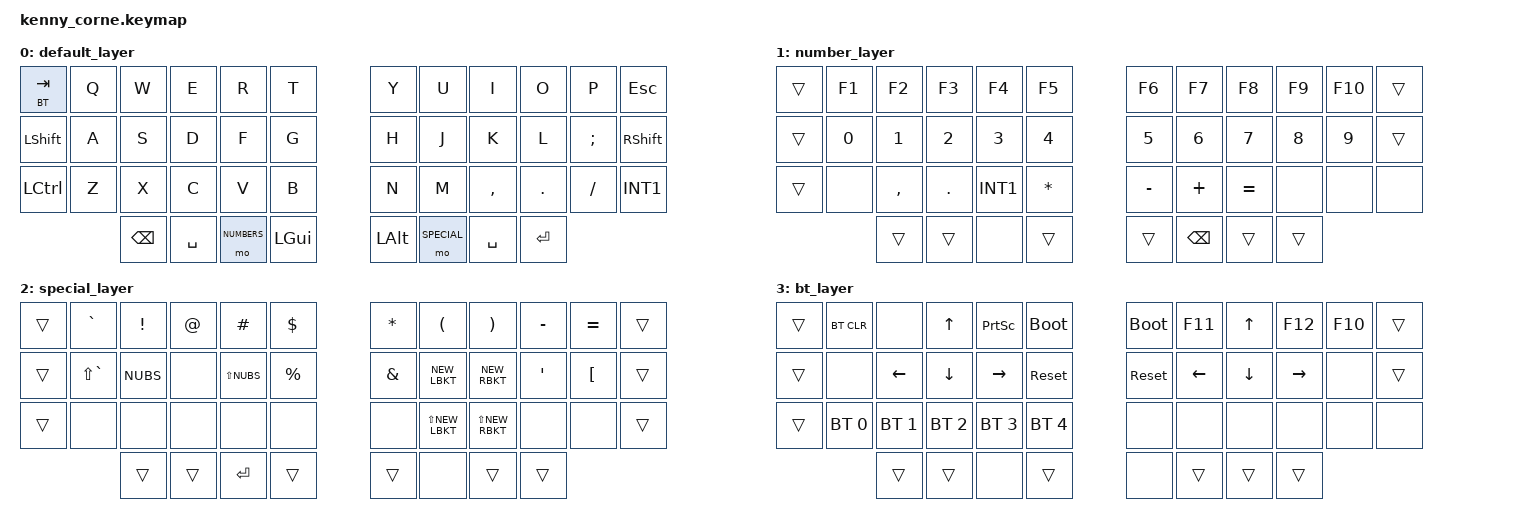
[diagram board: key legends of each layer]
#include <behaviors.dtsi>
#include <dt-bindings/zmk/keys.h>
#include <dt-bindings/zmk/bt.h>
#include <dt-bindings/zmk/outputs.h>
#include <dt-bindings/zmk/rgb.h>

#define DEFAULT_LAYER 0
#define NUMBERS 1
#define SPECIAL 2
#define BT 3

#define NEW_LBKT 0x30
#define NEW_RBKT 0x31
#define NEW_TILDE APOS
#define NEW_GRAVE LBKT
#define BSLH_QST INT1
#define COLON_SEMI SLASH
#define CEDILHA SEMI

#define SOUND_DOWN F11
#define SOUND_UP F12
#define MUTE F10

/ {
    keymap {
        compatible = "zmk,keymap";

        // -------------------------------------------              ------------------------------------------------
        // | BT/TAB |  Q  |   W  |   E   |  R  |  T  |              |  Y   |    U    |   I   |   O   |  P  |  ESC  |
        // | SHIFT  |  A  |   S  |   D   |  F  |  G  |              |  H   |    J    |   K   |   L   |  Ç  | SHIFT |
        // |  CTRL  |  Z  |   X  |   C   |  V  |  B  |              |  N   |    M    |   ,   |   .   | ;/: |  /?   |
        //                | BKSP | SPACE | NRS | WIN |              | LALT | SPECIAL | SPACE | ENTER |
        //                ----------------------------              ----------------------------------
        default_layer {
            bindings = <
    &lt BT TAB  &kp Q    &kp W     &kp E      &kp R         &kp T                   &kp Y     &kp U         &kp I      &kp O     &kp P           &kp ESC
    &kp LSHIFT  &kp A    &kp S     &kp D      &kp F         &kp G                   &kp H     &kp J         &kp K      &kp L     &kp CEDILHA     &kp RSHIFT
    &kp LCTRL   &kp Z    &kp X     &kp C      &kp V         &kp B                   &kp N     &kp M         &kp COMMA  &kp DOT   &kp COLON_SEMI  &kp BSLH_QST
                         &kp BSPC  &kp SPACE  &mo NUMBERS   &kp LGUI                &kp LALT  &mo SPECIAL   &kp SPACE  &kp RET
            >;
        };

        // -------------------------------------------------              -----------------------------------------------
        // | trans |   F1  |   F2  |   F3  |   F4  |   F5  |              |   F6  |   F7  |   F8  |   F9  | F10 | trans |
        // | trans |   0   |   1   |   2   |   3   |   4   |              |   5   |   6   |   7   |   8   |  9  | trans |
        // | trans |       |   ,   |   .   |   /   |   *   |              |   -   |   +   |   =   |       |     |       |
        //                 | trans | trans |       | trans |              | trans |  BSPC | trans | trans |
        //                 ---------------------------------              --------------------------------
        number_layer {
            bindings = <
    &trans  &kp F1  &kp F2     &kp F3   &kp F4        &kp F5                         &kp F6     &kp F7        &kp F8     &kp F9  &kp F10  &trans
    &trans  &kp N0  &kp N1     &kp N2   &kp N3        &kp N4                         &kp N5     &kp N6        &kp N7     &kp N8  &kp N9   &trans
    &trans  &none   &kp COMMA  &kp DOT  &kp BSLH_QST  &kp STAR                       &kp MINUS  &kp PLUS      &kp EQUAL  &none   &none    &none
                    &trans     &trans   &none         &trans                         &trans     &kp BSPC      &trans     &trans >;
        };

        // -----------------------------------------------              ---------------------------------------------
        // | trans | '/" |   !   |   @   |   #   |   $   |              |   *   |  (  |   )   |  -/_  | =/+ | trans |
        // | trans |  "  |  \/|  |       |   |   |   %   |              |   &   | [/{ |  ]/}  |  ~/^  | ´/` | trans |
        // | trans |     |       |       |       |       |              |       |  {  |   }   |       |     | trans |
        //               | trans | trans | ENTER | trans |              | trans |     | trans | trans |
        //                --------------------------------              -------------------------------
        special_layer {
            bindings = <
    &trans  &kp GRAVE      &kp EXCL  &kp AT  &kp HASH      &kp DLLR              &kp STAR  &kp LPAR          &kp RPAR          &kp MINUS     &kp EQUAL      &trans
    &trans  &kp LS(GRAVE)  &kp NUBS  &none   &kp LS(NUBS)  &kp PRCNT             &kp AMPS  &kp NEW_LBKT      &kp NEW_RBKT      &kp NEW_TILDE &kp NEW_GRAVE  &trans
    &trans  &none          &none     &none   &none         &none                 &none     &kp LS(NEW_LBKT)  &kp LS(NEW_RBKT)  &none         &none          &trans
                           &trans    &trans  &kp RET       &trans                &trans    &none             &trans            &trans
            >;
        };

// --------------------------------------------------              -------------------------------------------------------
// | trans | BT_CLR |       |   UP  | PRINT | BOOT  |              | BOOT  | SOUND_DOWN |   UP  | SOUND_UP | MUTE | trans |
// | trans |        |  LEFT |  DOWN | RIGHT | RESET |              | RESET |    LEFT    |  DOWN |   RIGHT  |      | trans |
// | trans | BTS_0  | BTS_1 | BTS_2 | BTS_3 | BTS_4 |              |       |            |       |          |      |       |
//                  | trans | trans |       | trans |              | trans |            | trans |   trans  |
//                  ---------------------------------              -----------------------------------------
        bt_layer {
            bindings = <
    &trans  &bt BT_CLR    &none         &kp UP        &kp PSCRN     &bootloader          &bootloader  &kp SOUND_DOWN  &kp UP    &kp SOUND_UP  &kp MUTE  &trans
    &trans  &none         &kp LEFT      &kp DOWN      &kp RIGHT     &sys_reset           &sys_reset   &kp LEFT        &kp DOWN  &kp RIGHT     &none     &trans
    &trans  &bt BT_SEL 0  &bt BT_SEL 1  &bt BT_SEL 2  &bt BT_SEL 3  &bt BT_SEL 4         &none        &none           &none     &none         &none     &none
                          &trans        &trans        &none         &trans               &none        &trans          &trans    &trans
            >;
        };

    };
};
